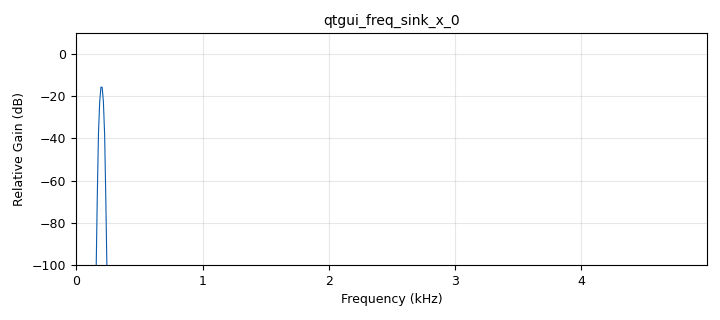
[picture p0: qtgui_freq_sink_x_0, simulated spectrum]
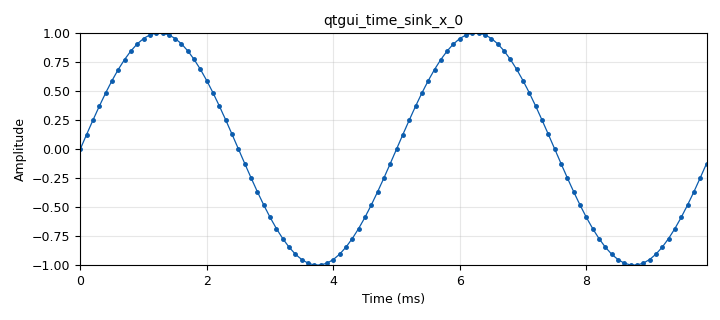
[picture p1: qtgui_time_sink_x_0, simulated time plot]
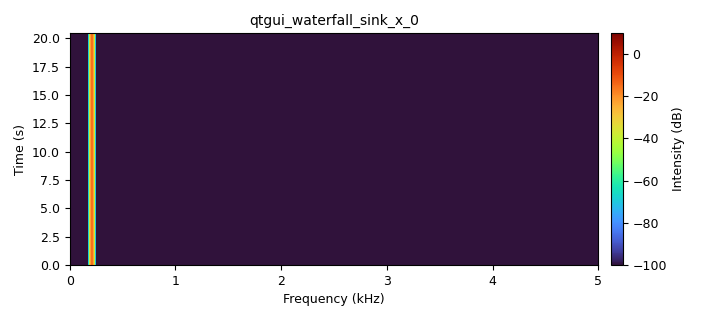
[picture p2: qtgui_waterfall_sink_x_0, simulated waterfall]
options:
  parameters:
    generate_options: qt_gui
    id: signalsourceguisinks
    output_language: python
    title: Not titled yet
  states: {}

blocks:
- name: samp_rate
  id: variable
  parameters:
    value: '10000'
  states: {}
- name: analog_sig_source_x_0
  id: analog_sig_source_x
  parameters:
    amp: '1'
    freq: '200'
    offset: '0'
    phase: '0'
    samp_rate: samp_rate
    type: float
    waveform: analog.GR_SIN_WAVE
  states: {}
- name: blocks_throttle_0
  id: blocks_throttle
  parameters:
    samples_per_second: samp_rate*10
    type: float
  states: {}
- name: qtgui_freq_sink_x_0
  id: qtgui_freq_sink_x
  parameters:
    bw: samp_rate
    fc: '0'
    fftsize: '1024'
    freqhalf: 'False'
    gui_hint: (0, 1, 1, 1)
    type: float
    wintype: firdes.WIN_BLACKMAN_hARRIS
    ymin: '-100'
  states: {}
- name: qtgui_time_sink_x_0
  id: qtgui_time_sink_x
  parameters:
    gui_hint: (0, 0, 1, 1)
    marker1: '0'
    size: '100'
    srate: samp_rate
    type: float
  states: {}
- name: qtgui_waterfall_sink_x_0
  id: qtgui_waterfall_sink_x
  parameters:
    bw: samp_rate
    fc: '0'
    fftsize: '1024'
    freqhalf: 'False'
    gui_hint: (0, 2, 1, 1)
    int_min: '-100'
    type: float
    wintype: firdes.WIN_BLACKMAN_hARRIS
  states: {}

connections:
- [analog_sig_source_x_0, '0', blocks_throttle_0, '0']
- [blocks_throttle_0, '0', qtgui_freq_sink_x_0, '0']
- [blocks_throttle_0, '0', qtgui_time_sink_x_0, '0']
- [blocks_throttle_0, '0', qtgui_waterfall_sink_x_0, '0']

metadata:
  file_format: 1
